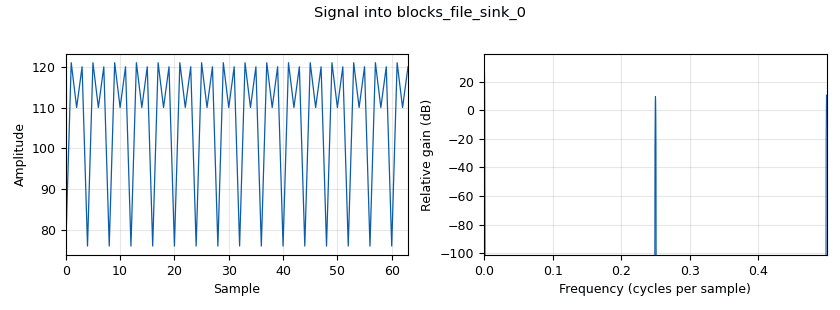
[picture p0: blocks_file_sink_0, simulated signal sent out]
<?xml version='1.0' encoding='utf-8'?>
<?grc format='1' created='3.7.11'?>
<flow_graph>
<block>
<key>options</key>
<param><key>id</key><value>top_block</value></param>
<param><key>generate_options</key><value>qt_gui</value></param>
</block>
<block>
<key>variable</key>
<param><key>id</key><value>samp_rate</value></param>
<param><key>value</key><value>32000</value></param>
</block>
<block>
<key>blocks_file_sink</key>
<param><key>id</key><value>blocks_file_sink_0</value></param>
<param><key>file</key><value>/home/diane/repos/sdrgnuradio/file_sink/float_data/output.bin</value></param>
<param><key>type</key><value>float</value></param>
</block>
<block>
<key>blocks_throttle</key>
<param><key>id</key><value>blocks_throttle_0</value></param>
<param><key>samples_per_second</key><value>samp_rate</value></param>
<param><key>type</key><value>float</value></param>
</block>
<block>
<key>blocks_vector_source_x</key>
<param><key>id</key><value>blocks_vector_source_x_0</value></param>
<param><key>type</key><value>float</value></param>
<param><key>repeat</key><value>True</value></param>
<param><key>vector</key><value>list(ord(i) for i in 'Lynx')</value></param>
</block>
<connection><source_block_id>blocks_throttle_0</source_block_id><sink_block_id>blocks_file_sink_0</sink_block_id><source_key>0</source_key><sink_key>0</sink_key></connection>
<connection><source_block_id>blocks_vector_source_x_0</source_block_id><sink_block_id>blocks_throttle_0</sink_block_id><source_key>0</source_key><sink_key>0</sink_key></connection>
</flow_graph>
